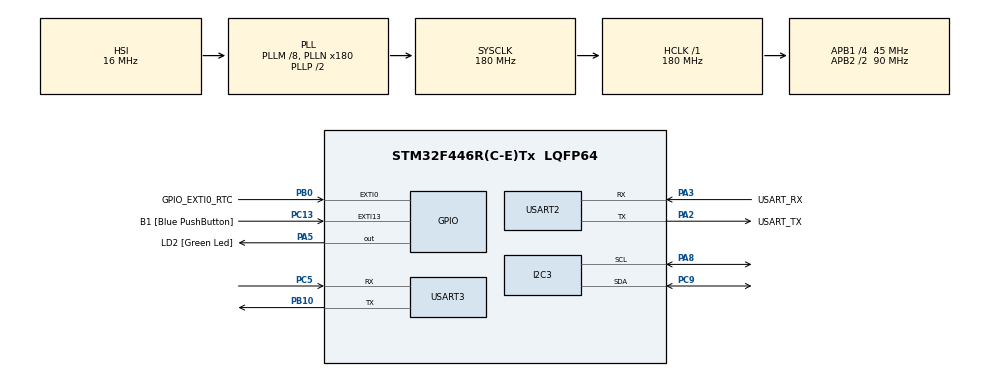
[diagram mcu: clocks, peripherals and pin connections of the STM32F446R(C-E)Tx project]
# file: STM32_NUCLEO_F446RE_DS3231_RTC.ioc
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Mcu.Family=STM32F4
Mcu.Name=STM32F446R(C-E)Tx
Mcu.Package=LQFP64
NVIC.EXTI0_IRQn=true\:0\:0\:false\:false\:true\:true\:true\:true
NVIC.PriorityGroup=NVIC_PRIORITYGROUP_0
NVIC.USART3_IRQn=true\:0\:0\:false\:false\:true\:true\:true\:true
PA13.GPIO_Label=TMS
PA13.Mode=Serial_Wire
PA13.Signal=SYS_JTMS-SWDIO
PA14.GPIO_Label=TCK
PA14.Mode=Serial_Wire
PA14.Signal=SYS_JTCK-SWCLK
PA2.GPIO_Label=USART_TX
PA2.Mode=Asynchronous
PA2.Signal=USART2_TX
PA3.GPIO_Label=USART_RX
PA3.Mode=Asynchronous
PA3.Signal=USART2_RX
PA5.GPIO_Label=LD2 [Green Led]
PA5.Signal=GPIO_Output
PA8.Mode=I2C
PA8.Signal=I2C3_SCL
PB0.GPIO_Label=GPIO_EXTI0_RTC
PB0.GPIO_ModeDefaultEXTI=GPIO_MODE_IT_FALLING
PB0.GPIO_PuPd=GPIO_PULLUP
PB0.Signal=GPXTI0
PB10.Mode=Asynchronous
PB10.Signal=USART3_TX
PB3.GPIO_Label=SWO
PB3.Signal=SYS_JTDO-SWO
PC13.GPIO_Label=B1 [Blue PushButton]
PC13.GPIO_ModeDefaultEXTI=GPIO_MODE_IT_FALLING
PC13.Signal=GPXTI13
PC14-OSC32_IN.Mode=LSE-External-Oscillator
PC14-OSC32_IN.Signal=RCC_OSC32_IN
PC15-OSC32_OUT.Mode=LSE-External-Oscillator
PC15-OSC32_OUT.Signal=RCC_OSC32_OUT
PC5.Mode=Asynchronous
PC5.Signal=USART3_RX
PC9.Mode=I2C
PC9.Signal=I2C3_SDA
PH0-OSC_IN.Mode=HSE-External-Oscillator
PH0-OSC_IN.Signal=RCC_OSC_IN
PH1-OSC_OUT.Mode=HSE-External-Oscillator
PH1-OSC_OUT.Signal=RCC_OSC_OUT
ProjectManager.HeapSize=0x200
ProjectManager.StackSize=0x400
ProjectManager.TargetToolchain=STM32CubeIDE
RCC.48MHZClocksFreq_Value=84000000
RCC.AHBFreq_Value=180000000
RCC.APB1CLKDivider=RCC_HCLK_DIV4
RCC.APB1Freq_Value=45000000
RCC.APB1TimFreq_Value=90000000
RCC.APB2CLKDivider=RCC_HCLK_DIV2
RCC.APB2Freq_Value=90000000
RCC.APB2TimFreq_Value=180000000
RCC.CortexFreq_Value=180000000
RCC.FLatency-AdvancedSettings=FLASH_LATENCY_5
RCC.HCLKFreq_Value=180000000
RCC.HSE_VALUE=8000000
RCC.HSI_VALUE=16000000
RCC.PLLM=8
RCC.PLLN=180
RCC.SYSCLKFreq_VALUE=180000000
RCC.SYSCLKSource=RCC_SYSCLKSOURCE_PLLCLK
RCC.USBFreq_Value=180000000
RCC.VCOOutputFreq_Value=360000000
USART2.VirtualMode=VM_ASYNC
USART3.VirtualMode=VM_ASYNC
board=NUCLEO-F446RE

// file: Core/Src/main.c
/* USER CODE BEGIN Header */
/**
  ******************************************************************************
  * @file           : main.c
  * @brief          : Main program body
  ******************************************************************************
  * @attention
  *
  * Copyright (c) 2024 STMicroelectronics.
  * All rights reserved.
  *
  * This software is licensed under terms that can be found in the LICENSE file
  * in the root directory of this software component.
  * If no LICENSE file comes with this software, it is provided AS-IS.
  *
  ******************************************************************************
  */
/* USER CODE END Header */
#include "main.h"
#include "i2c.h"
#include "usart.h"
#include "gpio.h"

/* USER CODE BEGIN Includes */
#ifdef DEBUG_LOG
#include "logger.h"
#endif
#include "ds3231.h"
#include "serial_menu.h"
/* USER CODE END Includes */

void SystemClock_Config(void);

int main(void)
{

  /* MCU Configuration--------------------------------------------------------*/

  /* Reset of all peripherals, Initializes the Flash interface and the Systick. */
  HAL_Init();

  /* Configure the system clock */
  SystemClock_Config();

  /* Initialize all configured peripherals */
  MX_GPIO_Init();
  MX_USART2_UART_Init();
  MX_I2C3_Init();
  MX_USART3_UART_Init();
  /* USER CODE BEGIN 2 */

  /* Serial Menu RS-232 Initialization */
  rs_232_rx_init();

#ifdef DEBUG_LOG
      /* Debugging via Virtual COM Serial Port */
      LOG(LOG_MSG, "DS3241 RTC Example by Elray's Software LLC");
#endif
      /* Initialize the RTC */
      ds3231_init(&hi2c3);

//      /* Disable interrupts while RTC is configured */
//      __disable_irq();
//      /* Initialize the RTC Interrupt mode to Alarm mode */
//      ds3231_set_interruptMode(DS3231_ALARM_INTERRUPT);
//      /* Enable the Alarms */
//      ds3231_enable_alarm_1(DS3231_ENABLED);
//      ds3231_enable_alarm_2(DS3231_ENABLED);
//      /* Set the Alarm 1 */
//      ds3231_set_alarm_1_mode(DS3231_A1_MATCH_S_M_H);
//      ds3231_set_alarm_1_second(3);
//      ds3231_set_alarm_1_minute(30);
//      ds3231_set_alarm_1_hour(13);
//      ds3231_set_alarm_1_date(2);
//
//      /* Set the Alarm 2 Mode */
//      ds3231_set_alarm_2_mode(DS3231_A2_MATCH_M_H);
//      ds3231_set_alarm_2_minute(31);
//      ds3231_set_alarm_2_hour(13);
//      ds3231_set_alarm_2_day(2);
//
//      /* Set time */
//      ds3231_set_full_time(13, 30, 0);
//      /* Set date */
//      ds3231_set_full_date(2, 9, 1, 2024);
//      /* Enable interrupts after configured */
//      __enable_irq();

//      char *day[7] = { "MON", "TUE", "WED", "THU", "FRI", "SAT", "SUN" };
//      LOG(LOG_MSG, "ISO8601 FORMAT: %04d-%02d-%02dT%02d:%02d:%02d %s %d.%02d",
//          ds3231_get_year(),
//          ds3231_get_month(),
//          ds3231_get_date(),
//          ds3231_get_hour(),
//          ds3231_get_minute(),
//          ds3231_get_second(),
//          day[ds3231_get_day_of_week()-1],
//          ds3231_get_temperature_integer(),
//          ds3231_get_temperature_fraction());

  /* USER CODE END 2 */

  /* Infinite loop */
  /* USER CODE BEGIN WHILE */
  while (1)
  {
      rs_232_menu();
      HAL_Delay(10);
      LOG(LOG_MSG, "Tick");
    /* USER CODE END WHILE */

  }
}

void SystemClock_Config(void)
{
  RCC_OscInitTypeDef RCC_OscInitStruct = {0};
  RCC_ClkInitTypeDef RCC_ClkInitStruct = {0};

  /** Configure the main internal regulator output voltage
  */
  __HAL_RCC_PWR_CLK_ENABLE();
  __HAL_PWR_VOLTAGESCALING_CONFIG(PWR_REGULATOR_VOLTAGE_SCALE1);

  /** Initializes the RCC Oscillators according to the specified parameters
  * in the RCC_OscInitTypeDef structure.
  */
  RCC_OscInitStruct.OscillatorType = RCC_OSCILLATORTYPE_HSI;
  RCC_OscInitStruct.HSIState = RCC_HSI_ON;
  RCC_OscInitStruct.HSICalibrationValue = RCC_HSICALIBRATION_DEFAULT;
  RCC_OscInitStruct.PLL.PLLState = RCC_PLL_ON;
  RCC_OscInitStruct.PLL.PLLSource = RCC_PLLSOURCE_HSI;
  RCC_OscInitStruct.PLL.PLLM = 8;
  RCC_OscInitStruct.PLL.PLLN = 180;
  RCC_OscInitStruct.PLL.PLLP = RCC_PLLP_DIV2;
  RCC_OscInitStruct.PLL.PLLQ = 2;
  RCC_OscInitStruct.PLL.PLLR = 2;
  if (HAL_RCC_OscConfig(&RCC_OscInitStruct) != HAL_OK)
  {
    Error_Handler();
  }

  /** Activate the Over-Drive mode
  */
  if (HAL_PWREx_EnableOverDrive() != HAL_OK)
  {
    Error_Handler();
  }

  /** Initializes the CPU, AHB and APB buses clocks
  */
  RCC_ClkInitStruct.ClockType = RCC_CLOCKTYPE_HCLK|RCC_CLOCKTYPE_SYSCLK
                              |RCC_CLOCKTYPE_PCLK1|RCC_CLOCKTYPE_PCLK2;
  RCC_ClkInitStruct.SYSCLKSource = RCC_SYSCLKSOURCE_PLLCLK;
  RCC_ClkInitStruct.AHBCLKDivider = RCC_SYSCLK_DIV1;
  RCC_ClkInitStruct.APB1CLKDivider = RCC_HCLK_DIV4;
  RCC_ClkInitStruct.APB2CLKDivider = RCC_HCLK_DIV2;

  if (HAL_RCC_ClockConfig(&RCC_ClkInitStruct, FLASH_LATENCY_5) != HAL_OK)
  {
    Error_Handler();
  }
}

/* USER CODE BEGIN 4 */
/**
 * errorHandler
 * @brief Custom Error Handler
 * @param error_num - error number
 * @retval - always 0
 * @note This function never returns
 */
uint8_t errorHandler(uint32_t error_num)
{
    uint32_t j;
    uint32_t green_blink_cnt;

    /* determine the LED blink rate */
    switch (error_num)
    {
    default:
    /* intentional fall through */
    case ERR_CODE_SYS:
        green_blink_cnt = 2;
        break;
    }

    /* turn the LEDs OFF */
    HAL_GPIO_WritePin(LD2_GPIO_Port, LD2_Pin, GPIO_PIN_RESET);

    /* blink the LED */
    while (1)
    {
        for (j = 0; j < green_blink_cnt; j++)
        {
            /* Toggle the Controller Board MCU Green LED */
            HAL_GPIO_TogglePin(LD2_GPIO_Port, LD2_Pin);
            HAL_Delay(500);
        }
    }
}
/* USER CODE END 4 */

void Error_Handler(void)
{
  /* USER CODE BEGIN Error_Handler_Debug */
    errorHandler(ERR_CODE_SYS);
  /* USER CODE END Error_Handler_Debug */
}
